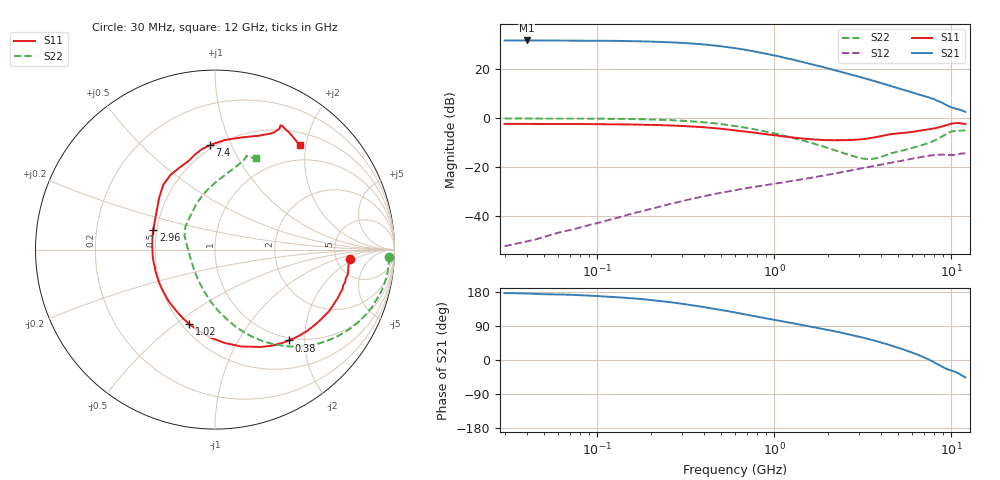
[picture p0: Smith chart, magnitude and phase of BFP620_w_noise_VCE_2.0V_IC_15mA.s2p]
! Infineon Technologies  Discrete & RF Semiconductors
! BFP620
! VCE =  2.0 V,  IC =  15 mA
! Common Emitter S-Parameters:  Nov 2015
# GHz  S  MA  R  50
!  f  S11  S21  S12  S22
! GHz  MAG  ANG  MAG  ANG  MAG  ANG  MAG  ANG
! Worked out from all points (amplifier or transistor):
!   239 points, 30 MHz to 12 GHz, reference 50 ohm
!   highest |S21| = 31.6 dB at 40 MHz (marker M1)
!   |S21| within 3 dB of that: start of sweep to 580.5 MHz
!   unconditionally stable (mu >= 1): 3.365 GHz to end of sweep
!   at 300 MHz: K = 0.23, MSG = 32.3 dB, |S12| = -34.0 dB
!   at 1.88 GHz: K = 0.84, MSG = 22.2 dB, |S12| = -23.6 dB
!   at 12 GHz: K = 1.12, MAG = 6.4 dB, |S12| = -14.5 dB
!   lowest NFmin = 0.85 dB at 450 MHz
!   S11 on the Smith chart (normalised r, x): 30 MHz: 6.75, -1.70; 380 MHz: 0.95, -1.68; 1.02 GHz: 0.55, -0.56; 2.96 GHz: 0.48, +0.12; 7.4 GHz: 0.47, +0.83; 12 GHz: 0.71, +1.89
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0.03  0.7559 -4.1  38.06 176.6  0.0024 69.3  0.9694 -2.6
0.04  0.7522 -5.6  38.19 175.6  0.003 73.4  0.9703 -3.7
0.05  0.7481 -6.8  38.1 173.6  0.0037 74.6  0.9715 -4.7
0.07  0.7532 -10.0  38.11 172.3  0.0051 77.3  0.9707 -6.9
0.085  0.7481 -11.9  37.87 170.5  0.0061 77.5  0.9683 -8.5
0.15  0.736 -21.2  37.14 163.5  0.0106 76.5  0.951 -15.3
0.2  0.7236 -27.9  36.28 158.4  0.0138 74.5  0.9306 -20.3
0.24  0.7076 -33.2  35.44 154.3  0.0164 72.7  0.9105 -24.1
0.3  0.6861 -41.1  34.17 148.5  0.0199 69.8  0.8774 -29.7
0.38  0.6524 -50.9  32.17 141.4  0.0241 66.4  0.8263 -36.4
0.5  0.601 -64.5  29.04 131.9  0.0296 61.8  0.7482 -45.6
0.6  0.5599 -74.7  26.59 125.3  0.0335 58.8  0.6849 -52.1
0.76  0.5031 -89.0  23.04 116.4  0.0387 55.2  0.5924 -60.7
1.02  0.438 -109.1  18.59 105.3  0.0457 51.6  0.4752 -71.8
1.2  0.4064 -121.1  16.27 99.1  0.0501 49.8  0.4128 -78.2
1.64  0.3653 -145.7  12.42 87.5  0.0605 46.8  0.306 -92.0
2  0.3509 -163.1  10.34 79.5  0.0687 44.3  0.2443 -103.7
2.96  0.3608 162.3  7.052 62.2  0.0901 37.5  0.156 -140.8
4.5  0.4623 128.5  4.536 39.2  0.1207 24.3  0.1873 155.1
7.4  0.5818 92.8  2.643 1.8  0.1688 -2.3  0.3055 103.9
9  0.68 68.9  1.986 -19.4  0.1776 -19.6  0.4307 80.9
12  0.7488 50.9  1.328 -46.0  0.1876 -40.4  0.5578 66.0
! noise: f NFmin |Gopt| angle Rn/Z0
0.45  0.85  0.11  -3  0.11
0.9  0.85  0.07  6  0.1
1.9  0.86  0.04  18  0.1
2.4  0.9  0.06  -137  0.1
3.5  0.93  0.11  -97  0.13
5.5  1.22  0.13  -90  0.15
10  1.67  0.6  -49  0.75
